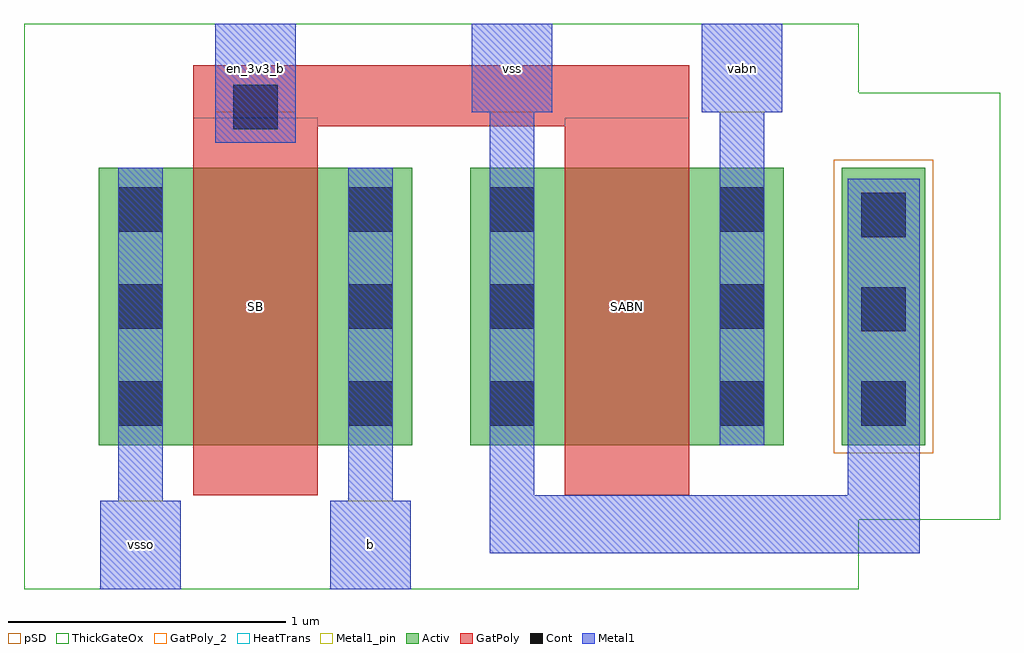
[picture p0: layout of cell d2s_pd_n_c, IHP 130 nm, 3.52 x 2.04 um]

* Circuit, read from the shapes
.subckt d2s_pd_n_c b en_3v3_b vabn vss vsso
XM1 b en_3v3_b vsso vss sg13_hv_nmos w=1u l=0.45u
XM2 vabn en_3v3_b vss vss sg13_hv_nmos w=1u l=0.45u
.ends

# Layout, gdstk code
import gdstk
lib = gdstk.Library(unit=1e-6, precision=1e-09)
def R(c, l, rs):  # rectangles x0, y0, x1, y1
    for r in rs: c.add(gdstk.rectangle(r[:2], r[2:], *l))
def A(c, l, x, y, w, h, nx, ny, dx, dy):  # array of equal rectangles
    R(c, l, [(x+i*dx, y+j*dy, x+i*dx+w, y+j*dy+h) for i in range(nx) for j in range(ny)])
def P(c, l, *ps):  # polygons
    for p in ps: c.add(gdstk.Polygon(p, *l))
Activ = (1, 0)
GatPoly = (5, 0)
GatPoly_2 = (5, 2)
Cont = (6, 0)
Metal1 = (8, 0)
Metal1_pin = (8, 2)
pSD = (14, 0)
ThickGateOx = (44, 0)
HeatTrans = (51, 0)

nmoshv_5 = lib.new_cell('nmosHV$5')
R(nmoshv_5, Activ, [(0,0,0.3,0.3), (0,0,1.13,1), (0.83,0,1.13,0.3)])
R(nmoshv_5, GatPoly, [(0.34,-0.18,0.79,1.18)])
R(nmoshv_5, GatPoly_2, [(0.34,-0.18,0.79,1.18)])
A(nmoshv_5, Cont, 0.07, 0.07, 0.16, 0.16, 1, 3, 0, 0.35)
A(nmoshv_5, Cont, 0.9, 0.07, 0.16, 0.16, 1, 3, 0, 0.35)
R(nmoshv_5, Metal1, [(0.07,0,0.23,1), (0.9,0,1.06,1)])
R(nmoshv_5, Metal1_pin, [(0.07,0,0.23,1), (0.9,0,1.06,1)])
R(nmoshv_5, ThickGateOx, [(-0.27,-0.52,1.4,1.52)])
R(nmoshv_5, HeatTrans, [(0.34,-0.18,0.79,1.18)])
nmoshv_5.add(gdstk.Label('nmosHV', (0.565,0.5), layer=63, texttype=0))
nmoshv_5.add(gdstk.Label('nmosHV', (0.565,0.5), layer=51, texttype=0))

d2s_pd_n_c = lib.new_cell('d2s_pd_n_c')
R(d2s_pd_n_c, Activ, [(2.95,0.52,3.25,1.52)])
R(d2s_pd_n_c, GatPoly, [(0.61,1.67,2.4,1.89)])
A(d2s_pd_n_c, Cont, 3.02, 0.59, 0.16, 0.16, 1, 3, 0, 0.34)
R(d2s_pd_n_c, Cont, [(0.755,1.66,0.915,1.82)])
R(d2s_pd_n_c, Metal1, [(0.275,0,0.565,0.32), (0.34,0,0.5,0.52), (1.105,0,1.395,0.32), (1.17,0,1.33,0.52), (1.68,0.13,3.23,0.34), (1.68,0.13,1.84,2.04), (2.97,0.13,3.23,1.48), (1.68,0.52,1.84,2.04), (2.51,0.52,2.67,2.04), (2.97,0.54,3.23,1.48), (0.69,1.61,0.98,2.04), (1.615,1.72,1.905,2.04), (2.445,1.72,2.735,2.04)])
R(d2s_pd_n_c, Metal1_pin, [(0.275,0,0.565,0.32), (1.105,0,1.395,0.32), (0.69,1.72,0.98,2.04), (1.615,1.72,1.905,2.04), (2.445,1.72,2.735,2.04)])
R(d2s_pd_n_c, pSD, [(2.92,0.49,3.28,1.55)])
P(d2s_pd_n_c, ThickGateOx, [(0,0),(0,2.04),(3.01,2.04),(3.01,1.79),(3.52,1.79),(3.52,0.25),(3.01,0.25),(3.01,0)])
d2s_pd_n_c.add(gdstk.Reference(nmoshv_5, (0.27,0.52)))
d2s_pd_n_c.add(gdstk.Reference(nmoshv_5, (1.61,0.52)))
d2s_pd_n_c.add(gdstk.Label('SB', (0.835,1.02), layer=63, texttype=0))
d2s_pd_n_c.add(gdstk.Label('SABN', (2.175,1.02), layer=63, texttype=0))
d2s_pd_n_c.add(gdstk.Label('en_3v3_b', (0.835,1.88), layer=8, texttype=25))
d2s_pd_n_c.add(gdstk.Label('vsso', (0.42,0.16), layer=8, texttype=25))
d2s_pd_n_c.add(gdstk.Label('b', (1.25,0.16), layer=8, texttype=25))
d2s_pd_n_c.add(gdstk.Label('vss', (1.76,1.88), layer=8, texttype=25))
d2s_pd_n_c.add(gdstk.Label('vabn', (2.59,1.88), layer=8, texttype=25))

lib.write_gds('d2s_pd_n_c.gds')
